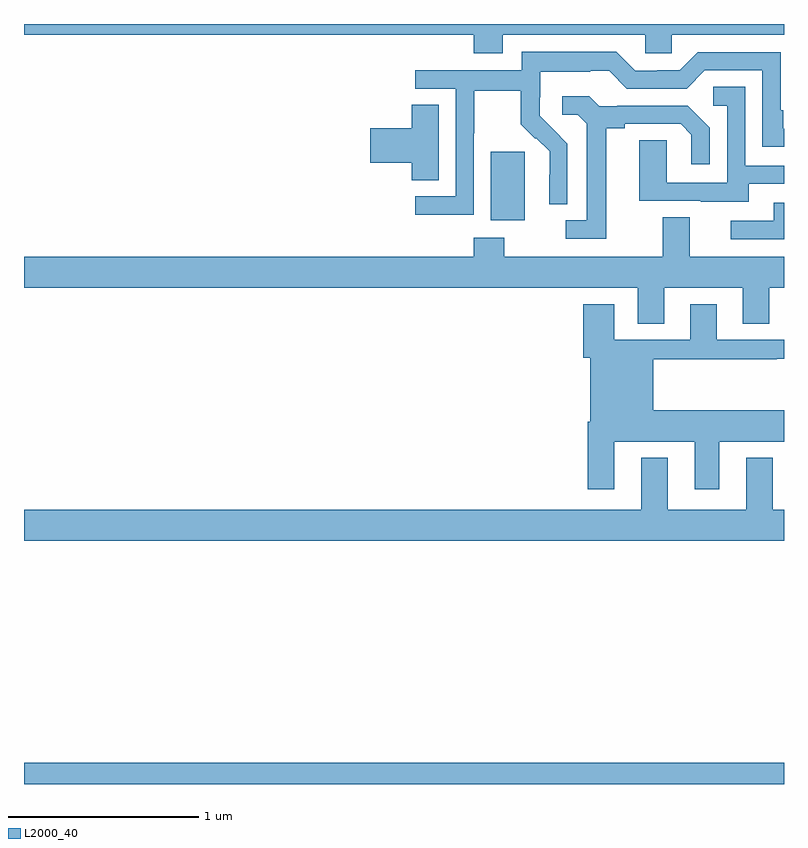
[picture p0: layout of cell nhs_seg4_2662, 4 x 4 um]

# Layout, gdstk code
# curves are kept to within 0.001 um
import gdstk
lib = gdstk.Library(unit=1e-6, precision=1e-09)
def R(c, l, rs):  # rectangles x0, y0, x1, y1
    for r in rs: c.add(gdstk.rectangle(r[:2], r[2:], *l))
def P(c, l, *ps):  # polygons
    for p in ps: c.add(gdstk.Polygon(p, *l))
L2000_40 = (2000, 40)

nhs_seg4_2662 = lib.new_cell('nhs_seg4_2662')
R(nhs_seg4_2662, L2000_40, [(251,768.9,255,769.012), (253.457,771.866,253.636,772.227)])
P(nhs_seg4_2662, L2000_40, [(253.519,772.844),(254.271,772.844),(254.271,772.746),(254.409,772.746),(254.409,772.844),(255,772.844),(255,772.9),(251,772.9),(251,772.844),(253.367,772.844),(253.367,772.745),(253.519,772.745)],
  [(253.368,772.324),(253.371,772.324),(253.371,772.548),(253.615,772.548),(253.615,772.373),(253.692,772.296),(253.695,772.299),(253.766,772.229),(253.766,772.106),(253.764,772.106),(253.764,771.952),(253.86,771.952),(253.86,772.27),(253.714,772.418),(253.714,772.515),(253.716,772.515),(253.716,772.649),(253.979,772.649),(253.979,772.653),(254.079,772.653),(254.172,772.56),(254.487,772.56),(254.583,772.656),(254.886,772.656),(254.886,772.254),(255,772.254),(255,772.35),(254.995,772.35),(254.995,772.447),(254.982,772.447),(254.982,772.752),(254.547,772.752),(254.451,772.656),(254.333,772.656),(254.333,772.653),(254.217,772.653),(254.117,772.753),(253.62,772.753),(253.62,772.656),(253.059,772.656),(253.059,772.56),(253.272,772.56),(253.272,771.993),(253.059,771.993),(253.059,771.895),(253.368,771.895)],
  [(254.815,772.059),(255,772.059),(255,772.155),(254.796,772.155),(254.796,772.571),(254.628,772.571),(254.628,772.47),(254.7,772.47),(254.7,772.065),(254.382,772.065),(254.382,772.289),(254.237,772.289),(254.237,771.969),(254.561,771.969),(254.561,771.965),(254.815,771.965)],
  [(254.065,772.352),(254.161,772.352),(254.161,772.374),(254.456,772.374),(254.513,772.317),(254.513,772.161),(254.61,772.161),(254.61,772.354),(254.494,772.47),(254.122,772.47),(254.122,772.467),(254.028,772.467),(253.976,772.519),(253.833,772.519),(253.833,772.422),(253.914,772.422),(253.961,772.375),(253.961,771.867),(253.851,771.867),(253.851,771.771),(254.065,771.771)],
  [(253.183,772.475),(253.04,772.475),(253.04,772.352),(252.822,772.352),(252.822,772.169),(253.04,772.169),(253.04,772.078),(253.183,772.078)],
  [(255,771.96),(254.945,771.96),(254.945,771.864),(254.721,771.864),(254.721,771.768),(255,771.768)],
  [(254.371,771.512),(254.783,771.512),(254.783,771.322),(254.923,771.322),(254.923,771.512),(255,771.512),(255,771.676),(254.503,771.676),(254.503,771.884),(254.363,771.884),(254.363,771.676),(253.527,771.676),(253.527,771.775),(253.367,771.775),(253.367,771.676),(251,771.676),(251,771.512),(254.231,771.512),(254.231,771.322),(254.371,771.322)],
  [(254.107,770.702),(254.531,770.702),(254.531,770.451),(254.659,770.451),(254.659,770.702),(255,770.702),(255,770.866),(254.311,770.866),(254.311,771.136),(254.963,771.136),(254.963,771.139),(255,771.139),(255,771.237),(254.647,771.237),(254.647,771.424),(254.507,771.424),(254.507,771.237),(254.107,771.237),(254.107,771.424),(253.943,771.424),(253.943,771.144),(253.979,771.144),(253.979,770.806),(253.967,770.806),(253.967,770.451),(254.107,770.451)],
  [(255,770.344),(254.941,770.344),(254.941,770.617),(254.801,770.617),(254.801,770.344),(254.389,770.344),(254.389,770.617),(254.249,770.617),(254.249,770.344),(251,770.344),(251,770.18),(255,770.18)])

lib.write_gds('nhs_seg4_2662.gds')
